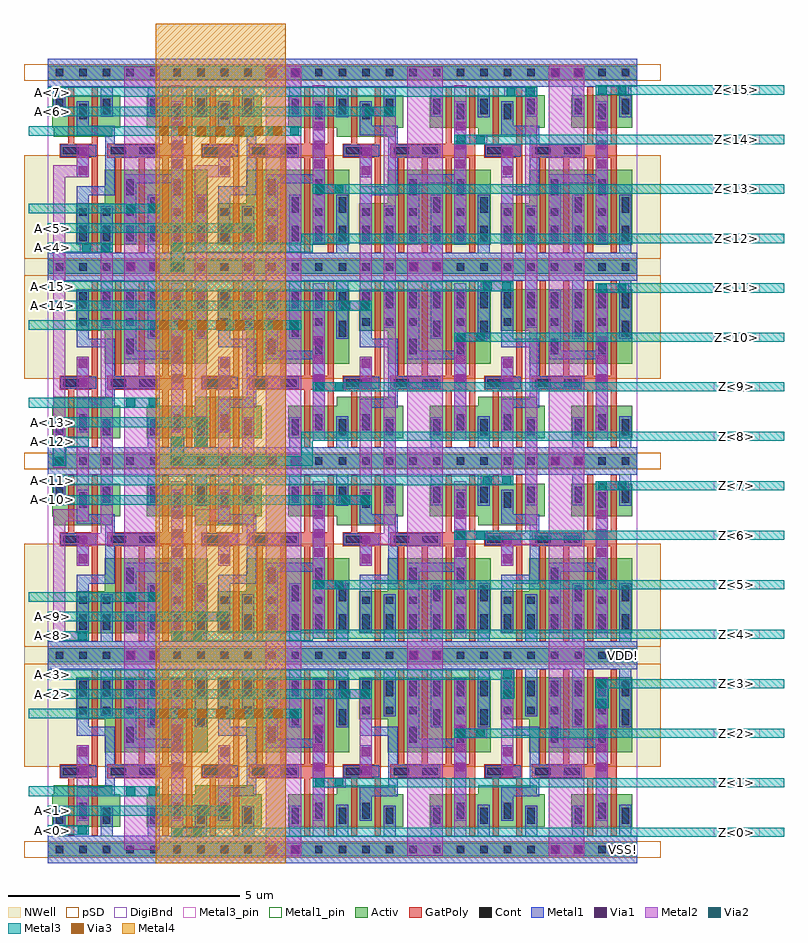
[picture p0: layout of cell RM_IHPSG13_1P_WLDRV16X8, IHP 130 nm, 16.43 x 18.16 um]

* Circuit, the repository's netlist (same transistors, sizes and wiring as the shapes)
************************************************************************
* 
* Copyright 2023 IHP PDK Authors
* 
* Licensed under the Apache License, Version 2.0 (the "License");
* you may not use this file except in compliance with the License.
* You may obtain a copy of the License at
* 
*    https://www.apache.org/licenses/LICENSE-2.0
* 
* Unless required by applicable law or agreed to in writing, software
* distributed under the License is distributed on an "AS IS" BASIS,
* WITHOUT WARRANTIES OR CONDITIONS OF ANY KIND, either express or implied.
* See the License for the specific language governing permissions and
* limitations under the License.
* 
************************************************************************

* Context fixture: selected source subcircuits; boundary name mapped to GDS.
.SUBCKT RM_IHPSG13_1P_WLDRV16X8 A<15> A<14> A<13> A<12> A<11> A<10> A<9> A<8>  A<7> A<6> A<5> A<4> A<3> A<2> A<1> A<0> Z<15> Z<14> Z<13> Z<12> Z<11> Z<10>  Z<9> Z<8> Z<7> Z<6> Z<5> Z<4> Z<3> Z<2> Z<1> Z<0> VDD VSS
XBUF<15> A<15> Z<15> VDD VSS / RSC_IHPSG13_WLDRVX8
XBUF<14> A<14> Z<14> VDD VSS / RSC_IHPSG13_WLDRVX8
XBUF<13> A<13> Z<13> VDD VSS / RSC_IHPSG13_WLDRVX8
XBUF<12> A<12> Z<12> VDD VSS / RSC_IHPSG13_WLDRVX8
XBUF<11> A<11> Z<11> VDD VSS / RSC_IHPSG13_WLDRVX8
XBUF<10> A<10> Z<10> VDD VSS / RSC_IHPSG13_WLDRVX8
XBUF<9> A<9> Z<9> VDD VSS / RSC_IHPSG13_WLDRVX8
XBUF<8> A<8> Z<8> VDD VSS / RSC_IHPSG13_WLDRVX8
XBUF<7> A<7> Z<7> VDD VSS / RSC_IHPSG13_WLDRVX8
XBUF<6> A<6> Z<6> VDD VSS / RSC_IHPSG13_WLDRVX8
XBUF<5> A<5> Z<5> VDD VSS / RSC_IHPSG13_WLDRVX8
XBUF<4> A<4> Z<4> VDD VSS / RSC_IHPSG13_WLDRVX8
XBUF<3> A<3> Z<3> VDD VSS / RSC_IHPSG13_WLDRVX8
XBUF<2> A<2> Z<2> VDD VSS / RSC_IHPSG13_WLDRVX8
XBUF<1> A<1> Z<1> VDD VSS / RSC_IHPSG13_WLDRVX8
XBUF<0> A<0> Z<0> VDD VSS / RSC_IHPSG13_WLDRVX8
.ENDS

.SUBCKT RSC_IHPSG13_WLDRVX8 A Z VDD VSS
MN1 Z net6 VSS VSS sg13_lv_nmos m=1 w=1.41u l=130.00n ng=2 nrd=0 nrs=0
MN0 net6 A VSS VSS sg13_lv_nmos m=1 w=1.8u l=130.00n ng=2 nrd=0 nrs=0
MP1 Z net6 VDD VDD sg13_lv_pmos m=1 w=6.48u l=130.00n ng=4 nrd=0 nrs=0
MP0 net6 A VDD VDD sg13_lv_pmos m=1 w=900.0n l=130.00n ng=1 nrd=0 nrs=0
.ENDS

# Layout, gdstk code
from math import pi, radians
import gdstk
lib = gdstk.Library(unit=1e-6, precision=1e-09)
def R(c, l, rs):  # rectangles x0, y0, x1, y1
    for r in rs: c.add(gdstk.rectangle(r[:2], r[2:], *l))
def A(c, l, x, y, w, h, nx, ny, dx, dy):  # array of equal rectangles
    R(c, l, [(x+i*dx, y+j*dy, x+i*dx+w, y+j*dy+h) for i in range(nx) for j in range(ny)])
def P(c, l, *ps):  # polygons
    for p in ps: c.add(gdstk.Polygon(p, *l))
Activ = (1, 0)
GatPoly = (5, 0)
Cont = (6, 0)
Metal1 = (8, 0)
Metal1_pin = (8, 2)
Metal2 = (10, 0)
pSD = (14, 0)
DigiBnd = (16, 0)
Via1 = (19, 0)
Via2 = (29, 0)
Metal3 = (30, 0)
Metal3_pin = (30, 2)
NWell = (31, 0)
Via3 = (49, 0)
Metal4 = (50, 0)

via_m3_m2_db_0x0400d921 = lib.new_cell('VIA_M3_M2_db_0x0400d921')
R(via_m3_m2_db_0x0400d921, Metal2, [(-0.355,-0.105,0.355,0.105)])
R(via_m3_m2_db_0x0400d921, Via2, [(-0.305,-0.095,-0.115,0.095), (0.115,-0.095,0.305,0.095)])
R(via_m3_m2_db_0x0400d921, Metal3, [(-0.355,-0.105,0.355,0.105)])

via_m4_m3_db_0x0283a69b = lib.new_cell('VIA_M4_M3_db_0x0283a69b')
R(via_m4_m3_db_0x0283a69b, Metal3, [(-1.405,-0.105,1.405,0.105)])
A(via_m4_m3_db_0x0283a69b, Via3, -1.325, -0.095, 0.19, 0.19, 7, 1, 0.41, 0)
R(via_m4_m3_db_0x0283a69b, Metal4, [(-1.405,-0.105,1.405,0.105)])

via_m3_m2_db_0x0400d39e = lib.new_cell('VIA_M3_M2_db_0x0400d39e')
R(via_m3_m2_db_0x0400d39e, Metal2, [(-0.13,-0.355,0.13,0.355)])
R(via_m3_m2_db_0x0400d39e, Via2, [(-0.095,-0.305,0.095,-0.115), (-0.095,0.115,0.095,0.305)])
R(via_m3_m2_db_0x0400d39e, Metal3, [(-0.145,-0.315,0.145,0.315)])

via_m2_m1_db_0x0283be9b = lib.new_cell('VIA_M2_M1_db_0x0283be9b')
R(via_m2_m1_db_0x0283be9b, Metal1, [(-0.35,-0.13,0.35,0.13)])
R(via_m2_m1_db_0x0283be9b, Metal2, [(-0.35,-0.13,0.35,0.13)])
R(via_m2_m1_db_0x0283be9b, Via1, [(-0.3,-0.095,-0.11,0.095), (0.11,-0.095,0.3,0.095)])

via_m3_m2_db_0x0283a69d = lib.new_cell('VIA_M3_M2_db_0x0283a69d')
R(via_m3_m2_db_0x0283a69d, Metal2, [(-0.385,-0.105,0.385,0.105)])
R(via_m3_m2_db_0x0283a69d, Via2, [(-0.335,-0.095,-0.145,0.095), (0.145,-0.095,0.335,0.095)])
R(via_m3_m2_db_0x0283a69d, Metal3, [(-0.385,-0.105,0.385,0.105)])

via_m3_m2_db_0x043aeda0 = lib.new_cell('VIA_M3_M2_db_0x043aeda0')
R(via_m3_m2_db_0x043aeda0, Metal2, [(-0.355,-0.1,0.355,0.1)])
R(via_m3_m2_db_0x043aeda0, Via2, [(-0.305,-0.095,-0.115,0.095), (0.115,-0.095,0.305,0.095)])
R(via_m3_m2_db_0x043aeda0, Metal3, [(-0.355,-0.1,0.355,0.1)])

rsc_ihpsg13_wldrvx8 = lib.new_cell('RSC_IHPSG13_WLDRVX8')
R(rsc_ihpsg13_wldrvx8, Activ, [(0,-0.15,3.57,0.15), (2.145,0.49,3.465,1.195), (0,4.05,3.57,4.35)])
P(rsc_ihpsg13_wldrvx8, Activ, [(0.105,0.49),(0.105,1.195),(0.135,1.195),(0.135,1.39),(1.395,1.39),(1.395,1.195),(1.57,1.195),(1.57,0.49)],
  [(1.235,2.1),(1.235,2.82),(0.615,2.82),(0.615,3.72),(3.465,3.72),(3.465,2.1)])
P(rsc_ihpsg13_wldrvx8, GatPoly, [(2.485,0.3),(2.485,1.54),(1.295,1.54),(1.295,1.84),(1.465,1.84),(1.465,3.9),(1.595,3.9),(1.595,1.84),(1.975,1.84),(1.975,3.9),(2.105,3.9),(2.105,1.84),(2.485,1.84),(2.485,3.9),(2.615,3.9),(2.615,1.84),(2.995,1.84),(2.995,3.9),(3.125,3.9),(3.125,1.84),(3.13,1.84),(3.13,1.54),(3.125,1.54),(3.125,0.3),(2.995,0.3),(2.995,1.54),(2.615,1.54),(2.615,0.3)],
  [(0.445,0.3),(0.445,1.54),(0.26,1.54),(0.26,1.84),(0.955,1.84),(0.955,3.9),(1.085,3.9),(1.085,0.3),(0.955,0.3),(0.955,1.54),(0.575,1.54),(0.575,0.3)])
A(rsc_ihpsg13_wldrvx8, Cont, 0.175, -0.08, 0.16, 0.16, 7, 2, 0.51, 4.2)
A(rsc_ihpsg13_wldrvx8, Cont, 0.175, 0.56, 0.16, 0.34, 4, 1, 1.02, 0)
A(rsc_ihpsg13_wldrvx8, Cont, 0.685, 2.93, 0.16, 0.16, 3, 1, 0.51, 0)
A(rsc_ihpsg13_wldrvx8, Cont, 0.685, 3.31, 0.16, 0.34, 6, 1, 0.51, 0)
R(rsc_ihpsg13_wldrvx8, Cont, [(0.685,0.67,0.845,1.01), (2.725,0.67,2.885,1.01), (0.33,1.61,0.67,1.77), (1.365,1.61,1.705,1.77), (1.985,1.61,2.325,1.77), (1.705,2.31,1.865,2.65), (2.725,2.31,2.885,2.65), (2.215,2.69,2.375,3.03), (3.235,2.69,3.395,3.03), (2.725,2.93,2.885,3.09)])
R(rsc_ihpsg13_wldrvx8, Metal1, [(2.675,0.62,2.935,1.35), (2.675,1.305,2.935,2.33), (0.28,1.56,1.05,1.82)])
P(rsc_ihpsg13_wldrvx8, Metal1, [(1.655,2.2),(1.655,3.7),(1.915,3.7),(1.915,2.39),(2.675,2.39),(2.675,3.7),(2.935,3.7),(2.935,2.2)],
  [(0,-0.3),(0,0.3),(0.125,0.3),(0.125,0.95),(0.385,0.95),(0.385,0.3),(1.145,0.3),(1.145,0.95),(1.405,0.95),(1.405,0.3),(2.165,0.3),(2.165,0.95),(2.425,0.95),(2.425,0.3),(3.185,0.3),(3.185,0.97),(3.445,0.97),(3.445,0.3),(3.57,0.3),(3.57,-0.3)],
  [(2.165,2.64),(2.165,3.9),(1.405,3.9),(1.405,2.88),(1.145,2.88),(1.145,3.9),(0,3.9),(0,4.5),(3.57,4.5),(3.57,3.9),(3.445,3.9),(3.445,2.64),(3.185,2.64),(3.185,3.9),(2.425,3.9),(2.425,2.64)],
  [(0.635,0.62),(0.635,1.35),(1.25,1.35),(1.25,2.46),(0.635,2.46),(0.635,3.7),(0.895,3.7),(0.895,2.65),(1.455,2.65),(1.455,1.83),(2.375,1.83),(2.375,1.56),(1.455,1.56),(1.455,1.15),(0.895,1.15),(0.895,0.62)])
R(rsc_ihpsg13_wldrvx8, Metal1_pin, [(0,-0.3,3.57,0.3), (2.675,0.62,2.935,3.7), (0.28,1.56,1.05,1.82), (0,3.9,3.57,4.5)])
R(rsc_ihpsg13_wldrvx8, pSD, [(-0.51,-0.18,4.08,0.18), (-0.51,1.785,4.08,4.02)])
R(rsc_ihpsg13_wldrvx8, DigiBnd, [(0,-0.3,3.57,4.5)])
R(rsc_ihpsg13_wldrvx8, NWell, [(-0.51,1.785,4.08,4.725)])
rsc_ihpsg13_wldrvx8.add(gdstk.Label('VSS!', (1.155,0.005), layer=8, texttype=2))
rsc_ihpsg13_wldrvx8.add(gdstk.Label('VDD!', (0.84,4.2), layer=8, texttype=2))
rsc_ihpsg13_wldrvx8.add(gdstk.Label('Z', (2.806,1.995), layer=8, texttype=2))
rsc_ihpsg13_wldrvx8.add(gdstk.Label('A', (0.51,1.695), layer=8, texttype=2))

via_m2_m1_db_0x043aeda3 = lib.new_cell('VIA_M2_M1_db_0x043aeda3')
R(via_m2_m1_db_0x043aeda3, Metal1, [(-0.13,-0.555,0.13,0.555)])
R(via_m2_m1_db_0x043aeda3, Metal2, [(-0.13,-0.555,0.13,0.555)])
A(via_m2_m1_db_0x043aeda3, Via1, -0.095, -0.505, 0.19, 0.19, 1, 3, 0, 0.41)

via_m2_m1_db_0x043aed9b = lib.new_cell('VIA_M2_M1_db_0x043aed9b')
R(via_m2_m1_db_0x043aed9b, Metal1, [(-0.37,-0.145,0.385,0.145)])
R(via_m2_m1_db_0x043aed9b, Metal2, [(-0.37,-0.145,0.385,0.145)])
R(via_m2_m1_db_0x043aed9b, Via1, [(-0.335,-0.095,-0.145,0.095), (0.16,-0.095,0.35,0.095)])

via_m3_m2_db_0x0283701f = lib.new_cell('VIA_M3_M2_db_0x0283701f')
R(via_m3_m2_db_0x0283701f, Metal2, [(-0.355,-0.105,0.355,0.105)])
R(via_m3_m2_db_0x0283701f, Via2, [(-0.305,-0.095,-0.115,0.095), (0.115,-0.095,0.305,0.095)])
R(via_m3_m2_db_0x0283701f, Metal3, [(-0.355,-0.1,0.355,0.1)])

rm_ihpsg13_1p_wldrv16x8 = lib.new_cell('RM_IHPSG13_1P_WLDRV16X8')
R(rm_ihpsg13_1p_wldrv16x8, Metal1_pin, [(12.15,-0.3,12.75,0.3), (12.15,3.9,12.75,4.5)])
A(rm_ihpsg13_1p_wldrv16x8, Metal2, 4.715, -0.13, 0.77, 17.06, 3, 1, 3.06, 0)
A(rm_ihpsg13_1p_wldrv16x8, Metal2, 2.675, 0.275, 0.26, 3.41, 4, 4, 3.06, 4.28)
R(rm_ihpsg13_1p_wldrv16x8, Metal2, [(1.655,0,2.425,16.93), (1.655,0,1.915,16.8), (2.165,0,2.425,16.8), (4.715,0,4.975,16.8), (5.225,0,5.485,16.8), (7.775,0,8.035,16.8), (8.285,0,8.545,16.8), (10.835,0,11.095,16.8), (11.345,0,11.605,16.8), (0.635,0.315,0.895,2), (2.675,0.315,2.935,2.625), (3.695,0.735,3.955,2), (6.755,1.74,7.015,3.465), (9.815,1.74,10.075,3.885), (6.755,7.455,7.015,9.96), (9.815,7.875,10.075,9.96), (6.755,11.655,7.015,14.54), (9.815,12.075,10.075,14.54)])
P(rm_ihpsg13_1p_wldrv16x8, Metal2, [(9.815,6.58),(9.815,6.84),(10.325,6.84),(10.325,16.485),(10.585,16.485),(10.585,6.58)],
  [(6.755,6.58),(6.755,6.84),(7.265,6.84),(7.265,16.065),(7.525,16.065),(7.525,6.58)],
  [(0.125,4.515),(0.125,7.36),(0.635,7.36),(0.635,9.96),(0.895,9.96),(0.895,7.1),(0.385,7.1),(0.385,4.515)],
  [(3.185,4.935),(3.185,7.36),(3.695,7.36),(3.695,9.96),(3.955,9.96),(3.955,7.1),(3.445,7.1),(3.445,4.935)],
  [(0.125,8.715),(0.125,14.8),(0.635,14.8),(0.635,14.54),(0.385,14.54),(0.385,8.715)],
  [(3.695,6.58),(3.695,6.84),(4.205,6.84),(4.205,13.545),(4.465,13.545),(4.465,6.58)],
  [(0.635,6.58),(0.635,6.84),(1.145,6.84),(1.145,13.125),(1.405,13.125),(1.405,6.58)],
  [(3.185,8.715),(3.185,14.8),(3.695,14.8),(3.695,14.54),(3.445,14.54),(3.445,8.715)])
A(rm_ihpsg13_1p_wldrv16x8, Metal3, 0, 0.315, 0.895, 0.21, 1, 3, 0, 4.2)
A(rm_ihpsg13_1p_wldrv16x8, Metal3, -0.41, 1.155, 2.835, 0.21, 1, 4, 0, 4.2)
A(rm_ihpsg13_1p_wldrv16x8, Metal3, 5.735, 1.345, 10.19, 0.2, 1, 4, 0, 4.28)
A(rm_ihpsg13_1p_wldrv16x8, Metal3, 8.795, 2.415, 7.13, 0.2, 1, 4, 0, 4.28)
A(rm_ihpsg13_1p_wldrv16x8, Metal3, 0, 3.255, 7.015, 0.21, 1, 3, 0, 4.2)
A(rm_ihpsg13_1p_wldrv16x8, Metal3, 11.855, 3.485, 4.07, 0.2, 1, 4, 0, 4.28)
A(rm_ihpsg13_1p_wldrv16x8, Metal3, 0, 3.675, 10.075, 0.21, 1, 3, 0, 4.2)
A(rm_ihpsg13_1p_wldrv16x8, Metal3, 5.485, 4.555, 10.44, 0.2, 1, 3, 0, 4.28)
R(rm_ihpsg13_1p_wldrv16x8, Metal3, [(2.675,0.275,15.925,0.475), (0,0.735,3.955,0.945), (-0.41,2.835,5.15,3.045), (2.675,4.515,5.735,4.725), (0,4.935,3.445,5.145), (2.675,8.295,5.735,8.505), (5.485,8.295,5.735,9.035), (0,9.135,3.445,9.345), (-0.41,11.235,5.15,11.445), (0,12.915,1.405,13.125), (2.675,12.915,5.735,13.125), (0,13.335,4.465,13.545), (-0.41,15.435,5.15,15.645), (0,15.855,7.525,16.065), (0,16.275,10.585,16.485)])
A(rm_ihpsg13_1p_wldrv16x8, Metal3_pin, 14.405, 0.275, 1, 0.2, 1, 16, 0, 1.07)
R(rm_ihpsg13_1p_wldrv16x8, Metal3_pin, [(0,0.315,0.21,0.525), (0,0.735,0.21,0.945), (0,3.255,0.21,3.465), (0,3.675,0.21,3.885), (0,4.515,0.21,4.725), (0,4.935,0.21,5.145), (0,7.455,0.21,7.665), (0,7.875,0.21,8.085), (0,8.715,0.21,8.925), (0,9.135,0.21,9.345), (0.005,11.655,0.215,11.865), (0.005,12.075,0.215,12.285), (0,12.915,0.21,13.125), (0,13.335,0.21,13.545), (0,15.855,0.21,16.065), (0,16.275,0.21,16.485)])
R(rm_ihpsg13_1p_wldrv16x8, Metal4, [(2.34,-0.3,5.15,17.86)])
rm_ihpsg13_1p_wldrv16x8.add(gdstk.Reference(via_m3_m2_db_0x0400d921, (3.6,0.84), rotation=pi, x_reflection=True))
rm_ihpsg13_1p_wldrv16x8.add(gdstk.Reference(via_m3_m2_db_0x0400d921, (6.66,7.56), rotation=pi, x_reflection=True))
rm_ihpsg13_1p_wldrv16x8.add(gdstk.Reference(via_m3_m2_db_0x0400d921, (6.66,11.76), rotation=pi, x_reflection=True))
rm_ihpsg13_1p_wldrv16x8.add(gdstk.Reference(via_m3_m2_db_0x0400d921, (3.54,5.04), rotation=pi, x_reflection=True))
rm_ihpsg13_1p_wldrv16x8.add(gdstk.Reference(via_m3_m2_db_0x0400d921, (10.23,16.38), rotation=pi, x_reflection=True))
rm_ihpsg13_1p_wldrv16x8.add(gdstk.Reference(via_m3_m2_db_0x0400d921, (1.05,13.02), rotation=pi, x_reflection=True))
rm_ihpsg13_1p_wldrv16x8.add(gdstk.Reference(via_m3_m2_db_0x0400d921, (9.72,7.98), rotation=pi, x_reflection=True))
rm_ihpsg13_1p_wldrv16x8.add(gdstk.Reference(via_m3_m2_db_0x0400d921, (0.54,0.42), rotation=pi, x_reflection=True))
rm_ihpsg13_1p_wldrv16x8.add(gdstk.Reference(via_m3_m2_db_0x0400d921, (3.03,4.62), rotation=pi, x_reflection=True))
rm_ihpsg13_1p_wldrv16x8.add(gdstk.Reference(via_m3_m2_db_0x0400d921, (6.66,3.36), rotation=pi, x_reflection=True))
rm_ihpsg13_1p_wldrv16x8.add(gdstk.Reference(via_m3_m2_db_0x0400d921, (0.54,4.62), rotation=pi, x_reflection=True))
rm_ihpsg13_1p_wldrv16x8.add(gdstk.Reference(via_m3_m2_db_0x0400d921, (7.17,15.96), rotation=pi, x_reflection=True))
rm_ihpsg13_1p_wldrv16x8.add(gdstk.Reference(via_m3_m2_db_0x0400d921, (9.72,12.18), rotation=pi, x_reflection=True))
rm_ihpsg13_1p_wldrv16x8.add(gdstk.Reference(via_m3_m2_db_0x0400d921, (4.11,13.44), rotation=pi, x_reflection=True))
rm_ihpsg13_1p_wldrv16x8.add(gdstk.Reference(via_m4_m3_db_0x0283a69b, (3.745,15.54), rotation=pi))
rm_ihpsg13_1p_wldrv16x8.add(gdstk.Reference(via_m4_m3_db_0x0283a69b, (3.745,11.34), rotation=pi))
rm_ihpsg13_1p_wldrv16x8.add(gdstk.Reference(via_m4_m3_db_0x0283a69b, (3.745,2.94), rotation=pi))
rm_ihpsg13_1p_wldrv16x8.add(gdstk.Reference(via_m3_m2_db_0x0400d39e, (0.255,8.61)))
rm_ihpsg13_1p_wldrv16x8.add(gdstk.Reference(via_m3_m2_db_0x0400d39e, (2.805,12.81)))
rm_ihpsg13_1p_wldrv16x8.add(gdstk.Reference(via_m3_m2_db_0x0400d39e, (2.805,8.61)))
rm_ihpsg13_1p_wldrv16x8.add(gdstk.Reference(via_m3_m2_db_0x0400d39e, (3.315,9.03)))
rm_ihpsg13_1p_wldrv16x8.add(gdstk.Reference(via_m3_m2_db_0x0400d39e, (11.985,3.37), rotation=pi, x_reflection=True))
rm_ihpsg13_1p_wldrv16x8.add(gdstk.Reference(via_m3_m2_db_0x0400d39e, (9.945,3.57), rotation=pi, x_reflection=True))
rm_ihpsg13_1p_wldrv16x8.add(gdstk.Reference(via_m2_m1_db_0x0283be9b, (0.765,14.89), rotation=pi/2))
rm_ihpsg13_1p_wldrv16x8.add(gdstk.Reference(via_m2_m1_db_0x0283be9b, (0.765,1.91), rotation=pi/2))
rm_ihpsg13_1p_wldrv16x8.add(gdstk.Reference(via_m2_m1_db_0x0283be9b, (9.945,14.89), rotation=pi/2))
rm_ihpsg13_1p_wldrv16x8.add(gdstk.Reference(via_m2_m1_db_0x0283be9b, (9.945,10.31), rotation=pi/2))
rm_ihpsg13_1p_wldrv16x8.add(gdstk.Reference(via_m2_m1_db_0x0283be9b, (3.825,14.89), rotation=pi/2))
rm_ihpsg13_1p_wldrv16x8.add(gdstk.Reference(via_m2_m1_db_0x0283be9b, (6.885,14.89), rotation=pi/2))
rm_ihpsg13_1p_wldrv16x8.add(gdstk.Reference(via_m2_m1_db_0x0283be9b, (3.825,1.91), rotation=pi/2))
rm_ihpsg13_1p_wldrv16x8.add(gdstk.Reference(via_m2_m1_db_0x0283be9b, (6.885,1.91), rotation=pi/2))
rm_ihpsg13_1p_wldrv16x8.add(gdstk.Reference(via_m2_m1_db_0x0283be9b, (9.945,1.91), rotation=pi/2))
rm_ihpsg13_1p_wldrv16x8.add(gdstk.Reference(via_m2_m1_db_0x0283be9b, (3.825,10.31), rotation=pi/2))
rm_ihpsg13_1p_wldrv16x8.add(gdstk.Reference(via_m2_m1_db_0x0283be9b, (9.945,6.49), rotation=pi/2))
rm_ihpsg13_1p_wldrv16x8.add(gdstk.Reference(via_m2_m1_db_0x0283be9b, (0.765,10.31), rotation=pi/2))
rm_ihpsg13_1p_wldrv16x8.add(gdstk.Reference(via_m2_m1_db_0x0283be9b, (6.885,6.49), rotation=pi/2))
rm_ihpsg13_1p_wldrv16x8.add(gdstk.Reference(via_m2_m1_db_0x0283be9b, (0.765,6.49), rotation=pi/2))
rm_ihpsg13_1p_wldrv16x8.add(gdstk.Reference(via_m2_m1_db_0x0283be9b, (3.825,6.49), rotation=pi/2))
rm_ihpsg13_1p_wldrv16x8.add(gdstk.Reference(via_m2_m1_db_0x0283be9b, (6.885,10.31), rotation=pi/2))
rm_ihpsg13_1p_wldrv16x8.add(gdstk.Reference(via_m3_m2_db_0x0283a69d, (5.1,15.54)))
rm_ihpsg13_1p_wldrv16x8.add(gdstk.Reference(via_m3_m2_db_0x0283a69d, (5.1,11.34)))
rm_ihpsg13_1p_wldrv16x8.add(gdstk.Reference(via_m3_m2_db_0x0283a69d, (5.1,2.94)))
rm_ihpsg13_1p_wldrv16x8.add(gdstk.Reference(via_m3_m2_db_0x0283a69d, (2.04,1.26)))
rm_ihpsg13_1p_wldrv16x8.add(gdstk.Reference(via_m3_m2_db_0x0283a69d, (2.04,5.46)))
rm_ihpsg13_1p_wldrv16x8.add(gdstk.Reference(via_m3_m2_db_0x0283a69d, (2.04,9.66)))
rm_ihpsg13_1p_wldrv16x8.add(gdstk.Reference(via_m3_m2_db_0x0283a69d, (2.04,13.86)))
rm_ihpsg13_1p_wldrv16x8.add(gdstk.Reference(via_m3_m2_db_0x043aeda0, (6.09,5.725), rotation=pi, x_reflection=True))
rm_ihpsg13_1p_wldrv16x8.add(gdstk.Reference(via_m3_m2_db_0x043aeda0, (6.09,14.285), rotation=pi, x_reflection=True))
rm_ihpsg13_1p_wldrv16x8.add(gdstk.Reference(via_m3_m2_db_0x043aeda0, (9.15,11.075), rotation=pi, x_reflection=True))
rm_ihpsg13_1p_wldrv16x8.add(gdstk.Reference(via_m3_m2_db_0x043aeda0, (6.09,10.005), rotation=pi, x_reflection=True))
rm_ihpsg13_1p_wldrv16x8.add(gdstk.Reference(via_m3_m2_db_0x043aeda0, (12.21,16.425), rotation=pi, x_reflection=True))
rm_ihpsg13_1p_wldrv16x8.add(gdstk.Reference(via_m3_m2_db_0x043aeda0, (12.21,12.145), rotation=pi, x_reflection=True))
rm_ihpsg13_1p_wldrv16x8.add(gdstk.Reference(via_m3_m2_db_0x043aeda0, (9.15,15.355), rotation=pi, x_reflection=True))
rm_ihpsg13_1p_wldrv16x8.add(gdstk.Reference(via_m3_m2_db_0x043aeda0, (9.15,6.795), rotation=pi, x_reflection=True))
rm_ihpsg13_1p_wldrv16x8.add(gdstk.Reference(via_m3_m2_db_0x043aeda0, (12.21,7.865), rotation=pi, x_reflection=True))
r = gdstk.Reference(rsc_ihpsg13_wldrvx8, (0,0)); r.repetition = gdstk.Repetition(4, 2, v1=(3.06,0), v2=(0,8.4)); rm_ihpsg13_1p_wldrv16x8.add(r)
r = gdstk.Reference(rsc_ihpsg13_wldrvx8, (0,16.8), x_reflection=True); r.repetition = gdstk.Repetition(4, 2, v1=(3.06,0), v2=(0,-8.4)); rm_ihpsg13_1p_wldrv16x8.add(r)
rm_ihpsg13_1p_wldrv16x8.add(gdstk.Reference(via_m2_m1_db_0x043aeda3, (5.865,15.235)))
rm_ihpsg13_1p_wldrv16x8.add(gdstk.Reference(via_m2_m1_db_0x043aeda3, (2.805,6.835)))
rm_ihpsg13_1p_wldrv16x8.add(gdstk.Reference(via_m2_m1_db_0x043aeda3, (8.925,10.595)))
rm_ihpsg13_1p_wldrv16x8.add(gdstk.Reference(via_m2_m1_db_0x043aeda3, (8.925,15.235)))
rm_ihpsg13_1p_wldrv16x8.add(gdstk.Reference(via_m2_m1_db_0x043aeda3, (5.865,6.835)))
rm_ihpsg13_1p_wldrv16x8.add(gdstk.Reference(via_m2_m1_db_0x043aeda3, (2.805,15.235)))
rm_ihpsg13_1p_wldrv16x8.add(gdstk.Reference(via_m2_m1_db_0x043aeda3, (8.925,6.835)))
rm_ihpsg13_1p_wldrv16x8.add(gdstk.Reference(via_m2_m1_db_0x043aeda3, (2.805,10.595)))
rm_ihpsg13_1p_wldrv16x8.add(gdstk.Reference(via_m2_m1_db_0x043aeda3, (2.805,2.195)))
rm_ihpsg13_1p_wldrv16x8.add(gdstk.Reference(via_m2_m1_db_0x043aeda3, (11.985,15.235)))
rm_ihpsg13_1p_wldrv16x8.add(gdstk.Reference(via_m2_m1_db_0x043aeda3, (5.865,2.195)))
rm_ihpsg13_1p_wldrv16x8.add(gdstk.Reference(via_m2_m1_db_0x043aeda3, (8.925,2.195)))
rm_ihpsg13_1p_wldrv16x8.add(gdstk.Reference(via_m2_m1_db_0x043aeda3, (11.985,2.195)))
rm_ihpsg13_1p_wldrv16x8.add(gdstk.Reference(via_m2_m1_db_0x043aeda3, (11.985,6.835)))
rm_ihpsg13_1p_wldrv16x8.add(gdstk.Reference(via_m2_m1_db_0x043aeda3, (11.985,10.595)))
rm_ihpsg13_1p_wldrv16x8.add(gdstk.Reference(via_m2_m1_db_0x043aeda3, (5.865,10.595)))
rm_ihpsg13_1p_wldrv16x8.add(gdstk.Reference(via_m2_m1_db_0x043aed9b, (8.175,12.6), rotation=pi))
rm_ihpsg13_1p_wldrv16x8.add(gdstk.Reference(via_m2_m1_db_0x043aed9b, (5.115,16.8), rotation=pi))
rm_ihpsg13_1p_wldrv16x8.add(gdstk.Reference(via_m2_m1_db_0x043aed9b, (11.235,8.4), rotation=pi))
rm_ihpsg13_1p_wldrv16x8.add(gdstk.Reference(via_m2_m1_db_0x043aed9b, (11.235,0), rotation=pi))
rm_ihpsg13_1p_wldrv16x8.add(gdstk.Reference(via_m2_m1_db_0x043aed9b, (11.235,16.8), rotation=pi))
rm_ihpsg13_1p_wldrv16x8.add(gdstk.Reference(via_m2_m1_db_0x043aed9b, (5.115,0), rotation=pi))
rm_ihpsg13_1p_wldrv16x8.add(gdstk.Reference(via_m2_m1_db_0x043aed9b, (2.055,12.6), rotation=pi))
rm_ihpsg13_1p_wldrv16x8.add(gdstk.Reference(via_m2_m1_db_0x043aed9b, (2.055,4.2), rotation=pi))
rm_ihpsg13_1p_wldrv16x8.add(gdstk.Reference(via_m2_m1_db_0x043aed9b, (8.175,4.2), rotation=pi))
rm_ihpsg13_1p_wldrv16x8.add(gdstk.Reference(via_m2_m1_db_0x043aed9b, (5.115,8.4), rotation=pi))
rm_ihpsg13_1p_wldrv16x8.add(gdstk.Reference(via_m3_m2_db_0x0283701f, (3.03,0.375), rotation=pi, x_reflection=True))
rm_ihpsg13_1p_wldrv16x8.add(gdstk.Reference(via_m3_m2_db_0x0283701f, (9.15,2.515), rotation=pi, x_reflection=True))
rm_ihpsg13_1p_wldrv16x8.add(gdstk.Reference(via_m3_m2_db_0x0283701f, (6.09,1.445), rotation=pi, x_reflection=True))
rm_ihpsg13_1p_wldrv16x8.add(gdstk.Label('Z<14>', (14.905,15.355), layer=30, texttype=25))
rm_ihpsg13_1p_wldrv16x8.add(gdstk.Label('Z<13>', (14.905,14.285), layer=30, texttype=25))
rm_ihpsg13_1p_wldrv16x8.add(gdstk.Label('Z<12>', (14.905,13.215), layer=30, texttype=25))
rm_ihpsg13_1p_wldrv16x8.add(gdstk.Label('Z<11>', (14.905,12.145), layer=30, texttype=25))
rm_ihpsg13_1p_wldrv16x8.add(gdstk.Label('Z<10>', (14.905,11.075), layer=30, texttype=25))
rm_ihpsg13_1p_wldrv16x8.add(gdstk.Label('Z<9>', (14.905,10.005), layer=30, texttype=25))
rm_ihpsg13_1p_wldrv16x8.add(gdstk.Label('Z<8>', (14.905,8.935), layer=30, texttype=25))
rm_ihpsg13_1p_wldrv16x8.add(gdstk.Label('Z<7>', (14.905,7.865), layer=30, texttype=25))
rm_ihpsg13_1p_wldrv16x8.add(gdstk.Label('Z<6>', (14.905,6.795), layer=30, texttype=25))
rm_ihpsg13_1p_wldrv16x8.add(gdstk.Label('Z<5>', (14.905,5.725), layer=30, texttype=25))
rm_ihpsg13_1p_wldrv16x8.add(gdstk.Label('Z<4>', (14.905,4.655), layer=30, texttype=25))
rm_ihpsg13_1p_wldrv16x8.add(gdstk.Label('Z<3>', (14.905,3.585), layer=30, texttype=25))
rm_ihpsg13_1p_wldrv16x8.add(gdstk.Label('Z<2>', (14.905,2.515), layer=30, texttype=25))
rm_ihpsg13_1p_wldrv16x8.add(gdstk.Label('Z<1>', (14.905,1.445), layer=30, texttype=25))
rm_ihpsg13_1p_wldrv16x8.add(gdstk.Label('Z<0>', (14.905,0.375), layer=30, texttype=25))
rm_ihpsg13_1p_wldrv16x8.add(gdstk.Label('A<1>', (0.105,0.84), layer=30, texttype=25))
rm_ihpsg13_1p_wldrv16x8.add(gdstk.Label('Z<15>', (14.905,16.425), layer=30, texttype=25))
rm_ihpsg13_1p_wldrv16x8.add(gdstk.Label('A<2>', (0.105,3.36), layer=30, texttype=25))
rm_ihpsg13_1p_wldrv16x8.add(gdstk.Label('A<13>', (0.105,9.24), layer=30, texttype=25))
rm_ihpsg13_1p_wldrv16x8.add(gdstk.Label('A<12>', (0.105,8.82), layer=30, texttype=25))
rm_ihpsg13_1p_wldrv16x8.add(gdstk.Label('A<0>', (0.105,0.42), layer=30, texttype=25))
rm_ihpsg13_1p_wldrv16x8.add(gdstk.Label('A<15>', (0.11,12.18), layer=30, texttype=25))
rm_ihpsg13_1p_wldrv16x8.add(gdstk.Label('A<14>', (0.11,11.76), layer=30, texttype=25))
rm_ihpsg13_1p_wldrv16x8.add(gdstk.Label('A<3>', (0.105,3.78), layer=30, texttype=25))
rm_ihpsg13_1p_wldrv16x8.add(gdstk.Label('A<11>', (0.105,7.98), layer=30, texttype=25))
rm_ihpsg13_1p_wldrv16x8.add(gdstk.Label('A<10>', (0.105,7.56), layer=30, texttype=25))
rm_ihpsg13_1p_wldrv16x8.add(gdstk.Label('A<6>', (0.105,15.96), layer=30, texttype=25))
rm_ihpsg13_1p_wldrv16x8.add(gdstk.Label('A<8>', (0.105,4.62), layer=30, texttype=25))
rm_ihpsg13_1p_wldrv16x8.add(gdstk.Label('A<5>', (0.105,13.44), layer=30, texttype=25))
rm_ihpsg13_1p_wldrv16x8.add(gdstk.Label('A<4>', (0.105,13.02), layer=30, texttype=25))
rm_ihpsg13_1p_wldrv16x8.add(gdstk.Label('A<9>', (0.105,5.04), layer=30, texttype=25))
rm_ihpsg13_1p_wldrv16x8.add(gdstk.Label('A<7>', (0.105,16.38), layer=30, texttype=25))
rm_ihpsg13_1p_wldrv16x8.add(gdstk.Label('VDD!', (12.45,4.2), layer=8, texttype=2))
rm_ihpsg13_1p_wldrv16x8.add(gdstk.Label('VSS!', (12.45,0), layer=8, texttype=2))

lib.write_gds('RM_IHPSG13_1P_WLDRV16X8.gds')
